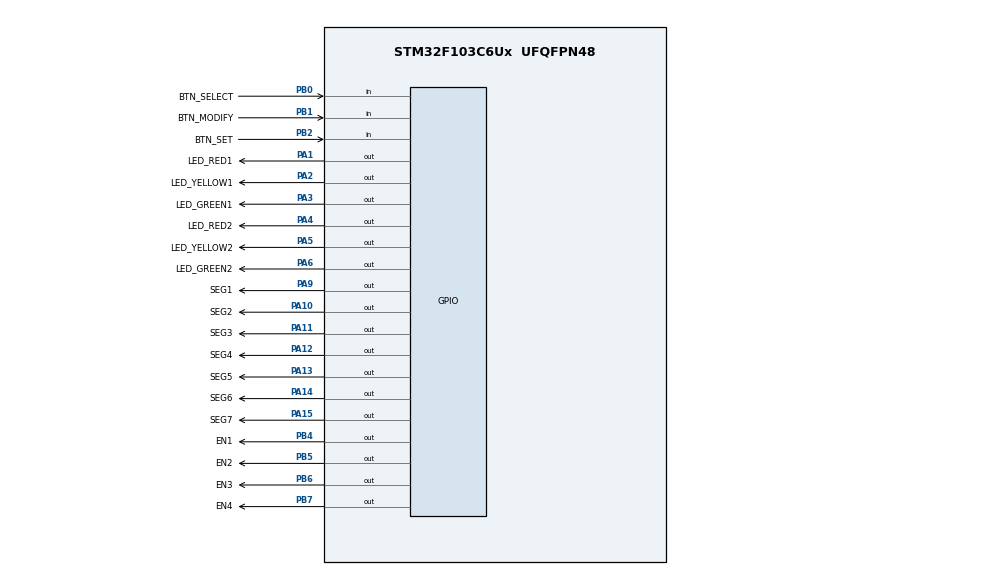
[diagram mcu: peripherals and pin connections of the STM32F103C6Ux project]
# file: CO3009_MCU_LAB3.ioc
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Mcu.Family=STM32F1
Mcu.Name=STM32F103C6Ux
Mcu.Package=UFQFPN48
NVIC.PriorityGroup=NVIC_PRIORITYGROUP_4
NVIC.TIM2_IRQn=true\:0\:0\:false\:false\:true\:true\:true
PA1.GPIO_Label=LED_RED1
PA1.Signal=GPIO_Output
PA10.GPIO_Label=SEG2
PA10.Signal=GPIO_Output
PA11.GPIO_Label=SEG3
PA11.Signal=GPIO_Output
PA12.GPIO_Label=SEG4
PA12.Signal=GPIO_Output
PA13.GPIO_Label=SEG5
PA13.Signal=GPIO_Output
PA14.GPIO_Label=SEG6
PA14.Signal=GPIO_Output
PA15.GPIO_Label=SEG7
PA15.Signal=GPIO_Output
PA2.GPIO_Label=LED_YELLOW1
PA2.Signal=GPIO_Output
PA3.GPIO_Label=LED_GREEN1
PA3.Signal=GPIO_Output
PA4.GPIO_Label=LED_RED2
PA4.Signal=GPIO_Output
PA5.GPIO_Label=LED_YELLOW2
PA5.Signal=GPIO_Output
PA6.GPIO_Label=LED_GREEN2
PA6.Signal=GPIO_Output
PA9.GPIO_Label=SEG1
PA9.Signal=GPIO_Output
PB0.GPIO_Label=BTN_SELECT
PB0.GPIO_PuPd=GPIO_PULLUP
PB0.Signal=GPIO_Input
PB1.GPIO_Label=BTN_MODIFY
PB1.GPIO_PuPd=GPIO_PULLUP
PB1.Signal=GPIO_Input
PB2.GPIO_Label=BTN_SET
PB2.GPIO_PuPd=GPIO_PULLUP
PB2.Signal=GPIO_Input
PB4.GPIO_Label=EN1
PB4.Signal=GPIO_Output
PB5.GPIO_Label=EN2
PB5.Signal=GPIO_Output
PB6.GPIO_Label=EN3
PB6.Signal=GPIO_Output
PB7.GPIO_Label=EN4
PB7.Signal=GPIO_Output
ProjectManager.HeapSize=0x200
ProjectManager.StackSize=0x400
ProjectManager.TargetToolchain=STM32CubeIDE
RCC.APB1Freq_Value=8000000
RCC.APB2Freq_Value=8000000
TIM2.Period=9
TIM2.Prescaler=7999
VP_SYS_VS_ND.Mode=No_Debug
VP_TIM2_VS_ClockSourceINT.Mode=Internal
board=custom

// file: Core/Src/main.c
/* USER CODE BEGIN Header */
/**
  ******************************************************************************
  * @file           : main.c
  * @brief          : Main program body
  ******************************************************************************
  * @attention
  *
  * <h2><center>&copy; Copyright (c) 2022 STMicroelectronics.
  * All rights reserved.</center></h2>
  *
  * This software component is licensed by ST under BSD 3-Clause license,
  * the "License"; You may not use this file except in compliance with the
  * License. You may obtain a copy of the License at:
  *                        opensource.org/licenses/BSD-3-Clause
  *
  ******************************************************************************
  */
/* USER CODE END Header */
#include "main.h"

/* USER CODE BEGIN Includes */
#include "button.h"
#include "software_timer.h"
#include "led_segment_control.h"
#include "global.h"
#include "fsm_automatic.h"
#include "fsm_manual.h"
/* USER CODE END Includes */

TIM_HandleTypeDef htim2;

/* USER CODE BEGIN PV */
enum TRAFFIC_STATE state;
int counter_red = DEFAULT_RED_DURATION;
int counter_yellow = DEFAULT_YELLOW_DURATION;
int counter_green = DEFAULT_GREEN_DURATION;

int isInManual = 0;
int isRedMode = 0;
int isYellowMode = 0;
int isGreenMode = 0;

int wasInModify = 0;

int tempCounter = 0;
int segment1Counter = 0;
int segment2Counter = 0;

int segmentIndexAuto = 0;
int segmentIndexManual = 0;

int led_buffer_auto[MAX_LED_SEGMENT] = {0, 0, 0, 0};
int led_buffer_manual[MAX_LED_SEGMENT] = {0, 0, 0, 0};

int trafficTimer1_flag = 0;
int trafficTimer2_flag = 0;
int waitTimer_flag = 0;
int modifyTimer_flag = 0;
int timerLed_flag = 0;
int countDownTimer1_flag = 0;
int countDownTimer2_flag = 0;
int scanFreqTimer_flag = 0;

int timerLed_counter = 0;
int trafficTimer1_counter = 0;
int trafficTimer2_counter = 0;
int waitTimer_counter = 0;
int modifyTimer_counter = 0;
int countDownTimer1_counter = 0;
int countDownTimer2_counter = 0;
int scanFreqTimer_counter = 0;
int timeCounter = 0;
/* USER CODE END PV */

void SystemClock_Config(void);
static void MX_GPIO_Init(void);
static void MX_TIM2_Init(void);

int main(void)
{

  /* MCU Configuration--------------------------------------------------------*/

  /* Reset of all peripherals, Initializes the Flash interface and the Systick. */
  HAL_Init();

  /* Configure the system clock */
  SystemClock_Config();

  /* Initialize all configured peripherals */
  MX_GPIO_Init();
  MX_TIM2_Init();
  /* USER CODE BEGIN 2 */
  HAL_TIM_Base_Start_IT(&htim2);
  state = IDLE;
  /* USER CODE END 2 */

  /* Infinite loop */
  while (1)
  {
	  trafficLight_automatic();
	  trafficLight_manual();
	  triggerLed();
  }
}

void SystemClock_Config(void)
{
  RCC_OscInitTypeDef RCC_OscInitStruct = {0};
  RCC_ClkInitTypeDef RCC_ClkInitStruct = {0};

  /** Initializes the RCC Oscillators according to the specified parameters
  * in the RCC_OscInitTypeDef structure.
  */
  RCC_OscInitStruct.OscillatorType = RCC_OSCILLATORTYPE_HSI;
  RCC_OscInitStruct.HSIState = RCC_HSI_ON;
  RCC_OscInitStruct.HSICalibrationValue = RCC_HSICALIBRATION_DEFAULT;
  RCC_OscInitStruct.PLL.PLLState = RCC_PLL_NONE;
  if (HAL_RCC_OscConfig(&RCC_OscInitStruct) != HAL_OK)
  {
    Error_Handler();
  }
  /** Initializes the CPU, AHB and APB buses clocks
  */
  RCC_ClkInitStruct.ClockType = RCC_CLOCKTYPE_HCLK|RCC_CLOCKTYPE_SYSCLK
                              |RCC_CLOCKTYPE_PCLK1|RCC_CLOCKTYPE_PCLK2;
  RCC_ClkInitStruct.SYSCLKSource = RCC_SYSCLKSOURCE_HSI;
  RCC_ClkInitStruct.AHBCLKDivider = RCC_SYSCLK_DIV1;
  RCC_ClkInitStruct.APB1CLKDivider = RCC_HCLK_DIV1;
  RCC_ClkInitStruct.APB2CLKDivider = RCC_HCLK_DIV1;

  if (HAL_RCC_ClockConfig(&RCC_ClkInitStruct, FLASH_LATENCY_0) != HAL_OK)
  {
    Error_Handler();
  }
}

static void MX_TIM2_Init(void)
{

  TIM_ClockConfigTypeDef sClockSourceConfig = {0};
  TIM_MasterConfigTypeDef sMasterConfig = {0};

  htim2.Instance = TIM2;
  htim2.Init.Prescaler = 7999;
  htim2.Init.CounterMode = TIM_COUNTERMODE_UP;
  htim2.Init.Period = 9;
  htim2.Init.ClockDivision = TIM_CLOCKDIVISION_DIV1;
  htim2.Init.AutoReloadPreload = TIM_AUTORELOAD_PRELOAD_DISABLE;
  if (HAL_TIM_Base_Init(&htim2) != HAL_OK)
  {
    Error_Handler();
  }
  sClockSourceConfig.ClockSource = TIM_CLOCKSOURCE_INTERNAL;
  if (HAL_TIM_ConfigClockSource(&htim2, &sClockSourceConfig) != HAL_OK)
  {
    Error_Handler();
  }
  sMasterConfig.MasterOutputTrigger = TIM_TRGO_RESET;
  sMasterConfig.MasterSlaveMode = TIM_MASTERSLAVEMODE_DISABLE;
  if (HAL_TIMEx_MasterConfigSynchronization(&htim2, &sMasterConfig) != HAL_OK)
  {
    Error_Handler();
  }

}

static void MX_GPIO_Init(void)
{
  GPIO_InitTypeDef GPIO_InitStruct = {0};

  /* GPIO Ports Clock Enable */
  __HAL_RCC_GPIOA_CLK_ENABLE();
  __HAL_RCC_GPIOB_CLK_ENABLE();

  /*Configure GPIO pin Output Level */
  HAL_GPIO_WritePin(GPIOA, LED_RED1_Pin|LED_YELLOW1_Pin|LED_GREEN1_Pin|LED_RED2_Pin
                          |LED_YELLOW2_Pin|LED_GREEN2_Pin|SEG1_Pin|SEG2_Pin
                          |SEG3_Pin|SEG4_Pin|SEG5_Pin|SEG6_Pin
                          |SEG7_Pin, GPIO_PIN_RESET);

  /*Configure GPIO pin Output Level */
  HAL_GPIO_WritePin(GPIOB, EN1_Pin|EN2_Pin|EN3_Pin|EN4_Pin, GPIO_PIN_RESET);

  /*Configure GPIO pins : LED_RED1_Pin LED_YELLOW1_Pin LED_GREEN1_Pin LED_RED2_Pin
                           LED_YELLOW2_Pin LED_GREEN2_Pin SEG1_Pin SEG2_Pin
                           SEG3_Pin SEG4_Pin SEG5_Pin SEG6_Pin
                           SEG7_Pin */
  GPIO_InitStruct.Pin = LED_RED1_Pin|LED_YELLOW1_Pin|LED_GREEN1_Pin|LED_RED2_Pin
                          |LED_YELLOW2_Pin|LED_GREEN2_Pin|SEG1_Pin|SEG2_Pin
                          |SEG3_Pin|SEG4_Pin|SEG5_Pin|SEG6_Pin
                          |SEG7_Pin;
  GPIO_InitStruct.Mode = GPIO_MODE_OUTPUT_PP;
  GPIO_InitStruct.Pull = GPIO_NOPULL;
  GPIO_InitStruct.Speed = GPIO_SPEED_FREQ_LOW;
  HAL_GPIO_Init(GPIOA, &GPIO_InitStruct);

  /*Configure GPIO pins : BTN_SELECT_Pin BTN_MODIFY_Pin BTN_SET_Pin */
  GPIO_InitStruct.Pin = BTN_SELECT_Pin|BTN_MODIFY_Pin|BTN_SET_Pin;
  GPIO_InitStruct.Mode = GPIO_MODE_INPUT;
  GPIO_InitStruct.Pull = GPIO_PULLUP;
  HAL_GPIO_Init(GPIOB, &GPIO_InitStruct);

  /*Configure GPIO pins : EN1_Pin EN2_Pin EN3_Pin EN4_Pin */
  GPIO_InitStruct.Pin = EN1_Pin|EN2_Pin|EN3_Pin|EN4_Pin;
  GPIO_InitStruct.Mode = GPIO_MODE_OUTPUT_PP;
  GPIO_InitStruct.Pull = GPIO_NOPULL;
  GPIO_InitStruct.Speed = GPIO_SPEED_FREQ_LOW;
  HAL_GPIO_Init(GPIOB, &GPIO_InitStruct);

}

/* USER CODE BEGIN 4 */
void HAL_TIM_PeriodElapsedCallback(TIM_HandleTypeDef *htim) {
	timer_run();
	readKeyInput();
}
/* USER CODE END 4 */

void Error_Handler(void)
{
  __disable_irq();
  while (1)
  {
  }
}

/************************ (C) COPYRIGHT STMicroelectronics *****END OF FILE****/
